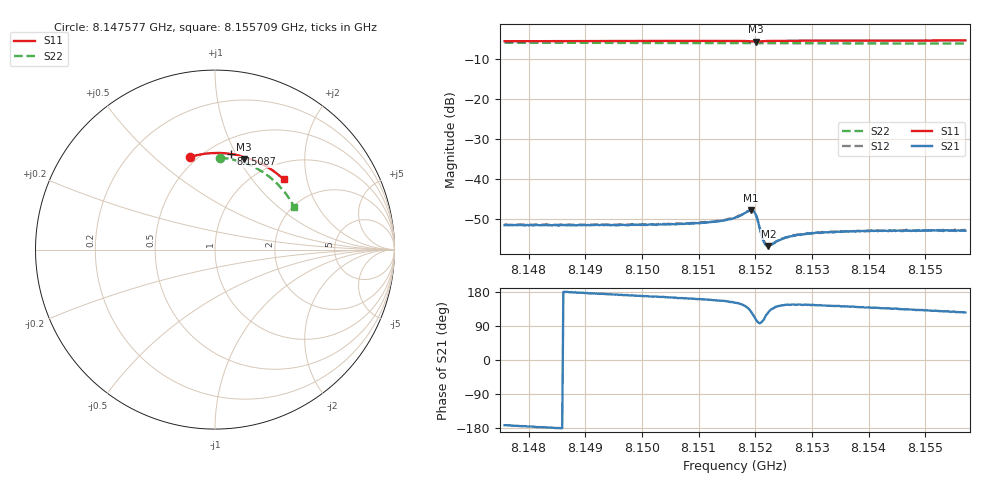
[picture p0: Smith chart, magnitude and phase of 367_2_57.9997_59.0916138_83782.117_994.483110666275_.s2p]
#  HZ  S  RI  R  50.00
! Rohde & Schwarz Vector Network Analyzer
! Rohde-Schwarz,ZNB20-2Port,1311601062101988,3.16
! Created: UTC 3/21/2024, 1:06:46 AM
! freq[Hz]  re:S11  im:S11  re:S21  im:S21  re:S12  im:S12  re:S22  im:S22
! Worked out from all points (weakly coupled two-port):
!   401 points, 8.147577 GHz to 8.155709 GHz, reference 50 ohm
!   highest |S21| = -47.83 dB at 8.151927 GHz (marker M1); lowest = -56.9 dB at 8.152232 GHz (marker M2)
!   lowest |S11| = -5.5 dB at 8.152009 GHz (marker M3), VSWR 3.25, Z = 37.5 + j52.6 ohm
!   |S11| at or under -10 dB: nowhere
!   |S22| runs from -6.0 to -5.8 dB; largest |S21 - S12| = 0.00012
!   S11 on the Smith chart (normalised r, x): 8.147577 GHz: 0.46, +0.66; 8.15087 GHz: 0.63, +0.96; 8.155709 GHz: 1.31, +1.46
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8.1475767e9  -0.1396 0.5161  -0.00259 -0.000364  -0.00266 -0.000323  0.027 0.5121
8.1489388e9  -0.0465 0.535  -0.00263 0.00012  -0.00261 0.000166  0.1147 0.4981
8.1503009e9  0.0481 0.5373  -0.00259 0.000628  -0.00264 0.00067  0.1975 0.4694
8.1508701e9  0.0878 0.533  -0.0026 0.000841  -0.00265 0.000872  0.2302 0.4533
8.1512564e9  0.1149 0.5284  -0.00268 0.00109  -0.00266 0.0011  0.2517 0.441
8.1514597e9  0.129 0.5252  -0.00275 0.00123  -0.00277 0.00129  0.2629 0.4342
8.1516426e9  0.1424 0.5214  -0.00286 0.00156  -0.00289 0.0016  0.2723 0.4277
8.1519272e9  0.1612 0.5087  -0.00246 0.00323  -0.00242 0.00327  0.2872 0.4171
8.1519679e9  0.1613 0.506  -0.00183 0.0035  -0.00181 0.00356  0.2893 0.4156
8.1520086e9  0.1602 0.5049  -0.00107 0.00339  -0.00102 0.00343  0.291 0.4141
8.1520492e9  0.1597 0.5061  -0.000483 0.00286  -0.000403 0.00291  0.2931 0.4128
8.1521102e9  0.1621 0.5091  -0.000337 0.00195  -0.00028 0.00198  0.2962 0.4106
8.1521509e9  0.1651 0.5104  -0.000462 0.00155  -0.000429 0.00162  0.2983 0.4091
8.1521915e9  0.1685 0.5109  -0.0007 0.0013  -0.00062 0.00133  0.3004 0.4076
8.1522322e9  0.1719 0.511  -0.000842 0.00116  -0.000844 0.0012  0.3024 0.406
8.1522728e9  0.1754 0.5106  -0.00101 0.00109  -0.00102 0.00109  0.3045 0.4043
8.1524965e9  0.1921 0.5067  -0.00146 0.00104  -0.00145 0.00105  0.3156 0.3953
8.1526388e9  0.2019 0.5036  -0.00159 0.00106  -0.00159 0.0011  0.3224 0.3894
8.1530047e9  0.2263 0.494  -0.00174 0.00116  -0.00169 0.00123  0.3396 0.3739
8.1534723e9  0.2559 0.4803  -0.00173 0.00131  -0.00171 0.00136  0.3602 0.353
8.1543668e9  0.3096 0.4491  -0.00161 0.00153  -0.00162 0.00158  0.396 0.3099
8.1557085e9  0.3819 0.3919  -0.00129 0.00182  -0.0013 0.00186  0.4397 0.2385
